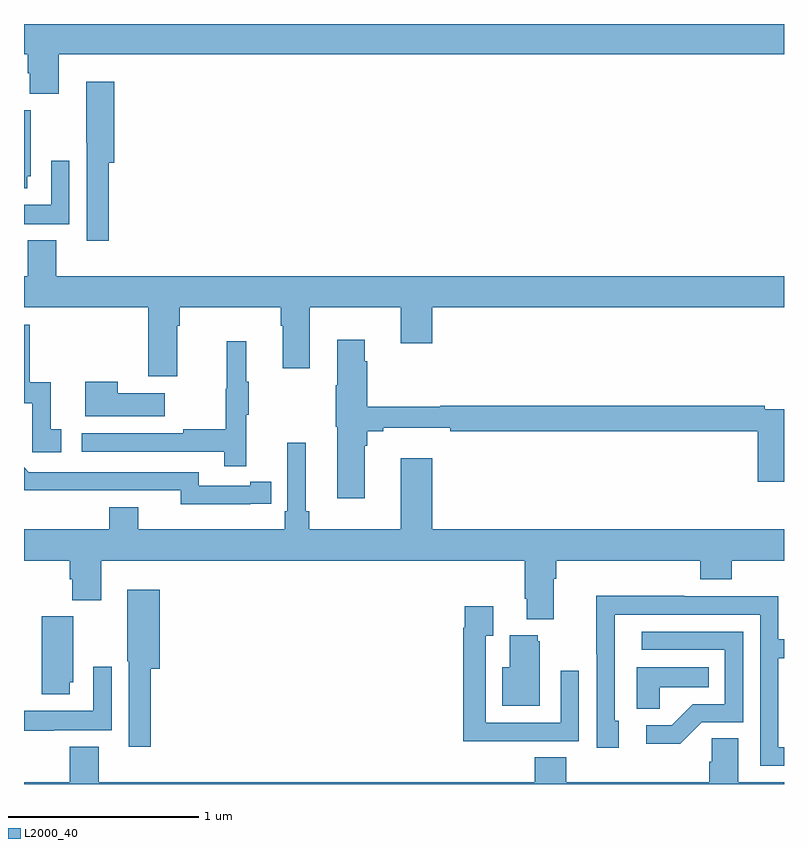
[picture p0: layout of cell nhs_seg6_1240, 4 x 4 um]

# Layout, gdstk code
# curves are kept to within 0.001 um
import gdstk
lib = gdstk.Library(unit=1e-6, precision=1e-09)
def P(c, l, *ps):  # polygons
    for p in ps: c.add(gdstk.Polygon(p, *l))
L2000_40 = (2000, 40)

nhs_seg6_1240 = lib.new_cell('nhs_seg6_1240')
P(nhs_seg6_1240, L2000_40, [(187,943.34),(187.019,943.34),(187.019,943.241),(187.031,943.241),(187.031,943.132),(187.184,943.132),(187.184,943.34),(191,943.34),(191,943.5),(187,943.5)],
  [(187.445,942.77),(187.475,942.77),(187.475,943.195),(187.328,943.195),(187.328,942.874),(187.329,942.874),(187.329,942.36),(187.445,942.36)],
  [(187.018,942.699),(187.036,942.699),(187.036,943.047),(187,943.047),(187,942.636),(187.018,942.636)],
  [(187.239,942.781),(187.143,942.781),(187.143,942.55),(187,942.55),(187,942.446),(187.239,942.446)],
  [(187.807,941.912),(187.82,941.912),(187.82,942.008),(188.351,942.008),(188.351,941.912),(188.363,941.912),(188.363,941.688),(188.503,941.688),(188.503,942.008),(188.984,942.008),(188.984,941.82),(189.148,941.82),(189.148,942.008),(191,942.008),(191,942.172),(187.171,942.172),(187.171,942.361),(187.019,942.361),(187.019,942.172),(187,942.172),(187,942.008),(187.655,942.008),(187.655,941.646),(187.807,941.646)],
  [(187.195,941.367),(187.142,941.367),(187.142,941.614),(187.031,941.614),(187.031,941.916),(187,941.916),(187,941.505),(187.044,941.505),(187.044,941.247),(187.195,941.247)],
  [(188.794,941.279),(188.807,941.279),(188.807,941.356),(188.89,941.356),(188.89,941.375),(189.244,941.375),(189.244,941.356),(190.862,941.356),(190.862,941.091),(191,941.091),(191,941.472),(190.898,941.472),(190.898,941.492),(189.19,941.492),(189.19,941.485),(188.807,941.485),(188.807,941.726),(188.794,941.726),(188.794,941.839),(188.648,941.839),(188.648,941.6),(188.641,941.6),(188.641,941.379),(188.648,941.379),(188.648,941.004),(188.794,941.004)],
  [(188.171,941.443),(188.182,941.443),(188.182,941.617),(188.171,941.617),(188.171,941.83),(188.068,941.83),(188.068,941.58),(188.061,941.58),(188.061,941.366),(187.837,941.366),(187.837,941.346),(187.305,941.346),(187.305,941.25),(188.053,941.25),(188.053,941.172),(188.171,941.172)],
  [(187.741,941.557),(187.493,941.557),(187.493,941.617),(187.322,941.617),(187.322,941.435),(187.741,941.435)],
  [(188.482,940.936),(188.482,941.296),(188.385,941.296),(188.385,940.936),(188.372,940.936),(188.372,940.84),(187.6,940.84),(187.6,940.957),(187.448,940.957),(187.448,940.84),(187,940.84),(187,940.676),(187.241,940.676),(187.241,940.577),(187.253,940.577),(187.253,940.468),(187.406,940.468),(187.406,940.676),(189.635,940.676),(189.635,940.474),(189.647,940.474),(189.647,940.367),(189.787,940.367),(189.787,940.58),(189.8,940.58),(189.8,940.676),(190.559,940.676),(190.559,940.577),(190.724,940.577),(190.724,940.676),(191,940.676),(191,940.84),(189.148,940.84),(189.148,941.215),(188.984,941.215),(188.984,940.84),(188.501,940.84),(188.501,940.936)],
  [(188.192,940.974),(188.3,940.974),(188.3,941.09),(188.192,941.09),(188.192,941.07),(187.92,941.07),(187.92,941.142),(187.026,941.142),(187,941.168),(187,941.045),(187.824,941.046),(187.824,940.973)],
  [(187.667,940.106),(187.715,940.106),(187.715,940.522),(187.544,940.522),(187.544,940.146),(187.551,940.146),(187.551,939.696),(187.667,939.696)],
  [(191,939.693),(190.971,939.693),(190.971,940.162),(191,940.162),(191,940.263),(190.971,940.263),(190.971,940.488),(190.475,940.488),(190.475,940.49),(190.012,940.49),(190.012,940.183),(190.014,940.183),(190.014,939.69),(190.129,939.69),(190.129,939.834),(190.11,939.834),(190.11,940.392),(190.875,940.392),(190.875,939.597),(191,939.597)],
  [(189.605,939.726),(189.921,939.726),(189.921,940.096),(189.825,940.096),(189.825,939.822),(189.429,939.822),(189.429,940.279),(189.469,940.279),(189.469,940.435),(189.321,940.435),(189.321,940.322),(189.313,940.322),(189.313,939.725),(189.605,939.725)],
  [(187.24,940.035),(187.258,940.035),(187.258,940.383),(187.094,940.383),(187.094,939.972),(187.24,939.972)],
  [(190.566,939.825),(190.785,939.825),(190.785,940.302),(190.251,940.302),(190.251,940.206),(190.689,940.206),(190.689,939.921),(190.52,939.921),(190.409,939.81),(190.275,939.81),(190.275,939.713),(190.453,939.713)],
  [(189.715,940.251),(189.704,940.251),(189.704,940.282),(189.557,940.282),(189.557,940.114),(189.518,940.114),(189.518,939.911),(189.715,939.911)],
  [(187.157,939.782),(187.461,939.782),(187.461,940.117),(187.365,940.117),(187.365,939.886),(187,939.886),(187,939.78),(187.157,939.78)],
  [(190.347,940.01),(190.604,940.01),(190.604,940.114),(190.226,940.114),(190.226,939.895),(190.347,939.895)],
  [(191,939.508),(190.759,939.508),(190.759,939.74),(190.62,939.74),(190.62,939.617),(190.607,939.617),(190.607,939.508),(189.854,939.508),(189.854,939.641),(189.689,939.641),(189.689,939.508),(187.393,939.508),(187.393,939.697),(187.241,939.697),(187.241,939.508),(187,939.508),(187,939.5),(191,939.5)])

lib.write_gds('nhs_seg6_1240.gds')
